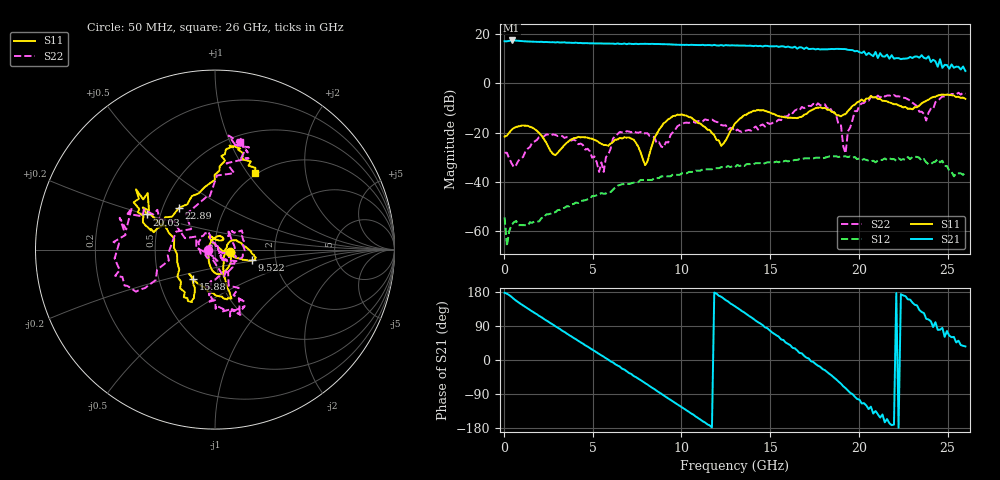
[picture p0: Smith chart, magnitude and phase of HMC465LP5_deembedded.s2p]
!Hittite Microwave Corporation
!20 Alpha Road
!Chelmsford, MA 01824
!Tel: 978-250-3343
!Fax: 978-250-3373
!Device: HMC465LP5, DC-20 GHz, GaAs PHEMT MMIC Modulator Driver Amlifier in 5x5 mm SMT package
!Misc: Vdd = 8V, Vgg2 = 1.5V, Idd = 160 mA, Room
# MHZ S MA R 50
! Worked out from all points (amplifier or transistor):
!   201 points, 50 MHz to 26 GHz, reference 50 ohm
!   highest |S21| = 17.3 dB at 439.2 MHz (marker M1)
!   |S21| within 3 dB of that: start of sweep to 16.48 GHz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
!   unconditionally stable (mu >= 1): start of sweep to end of sweep
!   at 4.332 GHz: K = 18.42, MAG = 16.3 dB, |S12| = -47.7 dB
!   at 13.03 GHz: K = 4.22, MAG = 15.4 dB, |S12| = -34.0 dB
!   at 26 GHz: K = 8.23, MAG = 8.3 dB, |S12| = -35.9 dB
!   S11 on the Smith chart (normalised r, x): 50 MHz: 1.18, -0.03; 9.522 GHz: 1.51, -0.19; 15.88 GHz: 0.75, -0.25; 20.03 GHz: 0.42, +0.20; 22.89 GHz: 0.61, +0.31; 26 GHz: 0.98, +1.09
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50  0.083 -9.8  7.035 177.3  0.001919 81.3  0.039 -175.4
439.25  0.114 -39.8  7.306 166.6  0.001345 179.5  0.024 51.3
1347.5  0.137 -85.6  6.975 136.1  0.00133 103.8  0.047 -25.8
2385.5  0.063 -124.9  6.811 104.6  0.002193 88.2  0.091 -22.4
3423.5  0.056 103.0  6.695 74.0  0.003008 67.7  0.078 -42.8
4461.5  0.081 60.8  6.42 43.1  0.004197 46.9  0.056 -54.3
6407.75  0.072 103.6  6.361 -14.5  0.008395 9.1  0.093 110.2
8743.25  0.114 -21.4  6.191 -85.0  0.012 -56.9  0.064 -132.8
9521.75  0.215 -16.2  6.036 -109.4  0.014 -79.0  0.101 -44.8
11208.5  0.138 18.2  5.956 -161.7  0.018 -125.1  0.169 27.2
13025  0.153 -71.8  5.783 141.7  0.02 -176.1  0.105 46.7
14711.75  0.275 -80.2  5.704 86.2  0.024 136.5  0.132 -62.9
15879.5  0.203 -126.6  5.341 46.1  0.027 102.9  0.213 -102.5
17436.5  0.294 -113.5  4.974 -5.2  0.03 52.1  0.382 -77.4
19123.25  0.229 177.2  4.891 -69.4  0.033 -10.0  0.052 -108.8
20031.5  0.427 152.7  4.238 -104.6  0.03 -49.1  0.354 151.0
21199.25  0.478 154.2  4.049 -152.1  0.028 -76.3  0.505 170.7
21718.25  0.406 161.1  3.133 -166.9  0.03 -95.4  0.562 -175.1
22886  0.307 130.7  3.389 159.4  0.029 -130.8  0.444 -151.2
23924  0.465 86.8  3.491 107.0  0.023 -176.1  0.254 129.8
24832.25  0.58 80.0  2.347 61.2  0.021 139.8  0.53 74.1
26000  0.482 62.5  1.764 35.9  0.016 124.3  0.613 77.1
